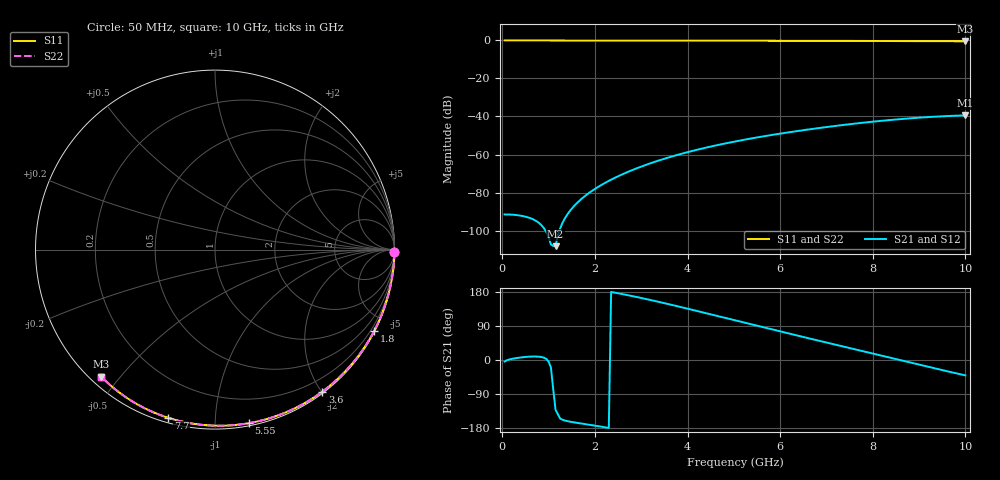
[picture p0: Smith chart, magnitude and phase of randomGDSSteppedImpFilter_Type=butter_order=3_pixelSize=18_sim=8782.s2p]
! freq	dB(S11)	phase(S11)	dB(S12)	phase(S12)
!  dB(S21)	phase(S21)	dB(S22)	phase(S22)
!S-par simulation data
#  GHz  S  DB  R 50
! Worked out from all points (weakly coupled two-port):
!   200 points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, 50 MHz to 10 GHz, reference 50 ohm
!   highest |S21| = -39.39 dB at 10 GHz (marker M1); lowest = -108.2 dB at 1.15 GHz (marker M2)
!   lowest |S11| = -0.4 dB at 10 GHz (marker M3), VSWR 39.01, Z = 1.54 - j22.3 ohm
!   |S11| at or under -10 dB: nowhere
!   |S22| runs from -0.4 to 0.0 dB; largest |S21 - S12| = 0
!   S11 on the Smith chart (normalised r, x): 50 MHz: open; 1.8 GHz: 0.04, -4.16; 3.6 GHz: 0.02, -2.01; 5.55 GHz: 0.02, -1.21; 7.7 GHz: 0.02, -0.76; 10 GHz: 0.03, -0.45
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0.05  -0.00 -0.8  -91.51 -4.2  -91.51 -4.2  -0.00 -0.8
0.6  -0.01 -9.1  -93.42 8.9  -93.42 8.9  -0.01 -9.1
1.15  -0.02 -17.4  -108.21 -131.5  -108.21 -131.5  -0.02 -17.4
1.75  -0.03 -26.3  -82.52 -168.4  -82.52 -168.4  -0.03 -26.3
1.8  -0.03 -27.1  -81.54 -169.3  -81.54 -169.3  -0.03 -27.1
1.9  -0.04 -28.5  -79.75 -171.2  -79.75 -171.2  -0.04 -28.5
2.05  -0.04 -30.7  -77.33 -174.1  -77.33 -174.1  -0.04 -30.7
2.25  -0.04 -33.7  -74.50 -178.2  -74.50 -178.2  -0.04 -33.6
2.45  -0.05 -36.6  -72.01 177.3  -72.01 177.3  -0.05 -36.6
2.65  -0.05 -39.4  -69.78 172.6  -69.78 172.6  -0.05 -39.4
3  -0.06 -44.5  -66.35 163.7  -66.35 163.7  -0.06 -44.5
3.4  -0.07 -50.1  -62.98 152.8  -62.98 152.8  -0.07 -50.1
3.6  -0.07 -52.9  -61.48 147.2  -61.48 147.2  -0.07 -52.9
4.3  -0.09 -62.5  -56.94 126.5  -56.94 126.5  -0.09 -62.5
5.05  -0.11 -72.5  -53.03 103.8  -53.03 103.8  -0.11 -72.5
5.55  -0.13 -79.0  -50.81 88.7  -50.81 88.7  -0.13 -79.0
6.1  -0.15 -86.0  -48.63 72.4  -48.63 72.4  -0.15 -86.0
6.7  -0.18 -93.4  -46.52 54.8  -46.52 54.8  -0.18 -93.4
7.7  -0.24 -105.5  -43.50 25.7  -43.50 25.7  -0.24 -105.5
8.35  -0.29 -113.1  -41.89 6.8  -41.89 6.8  -0.29 -113.1
9.15  -0.36 -122.3  -40.37 -16.6  -40.37 -16.6  -0.36 -122.3
10  -0.45 -131.9  -39.39 -40.6  -39.39 -40.6  -0.45 -131.9
